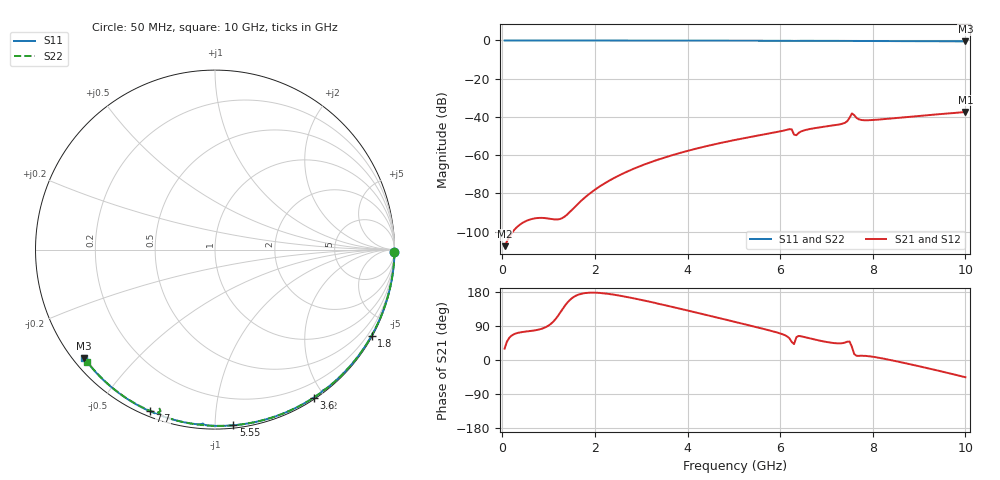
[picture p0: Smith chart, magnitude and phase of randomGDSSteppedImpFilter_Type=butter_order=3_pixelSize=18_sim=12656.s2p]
! freq	dB(S11)	phase(S11)	dB(S12)	phase(S12)
!  dB(S21)	phase(S21)	dB(S22)	phase(S22)
!S-par simulation data
#  GHz  S  DB  R 50
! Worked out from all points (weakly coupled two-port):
!   200 points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, 50 MHz to 10 GHz, reference 50 ohm
!   highest |S21| = -37.47 dB at 10 GHz (marker M1); lowest = -107.7 dB at 50 MHz (marker M2)
!   lowest |S11| = -0.5 dB at 10 GHz (marker M3), VSWR 36.83, Z = 1.53 - j18.1 ohm
!   |S11| at or under -10 dB: nowhere
!   |S22| runs from -0.6 to 0.0 dB; largest |S21 - S12| = 0
!   S11 on the Smith chart (normalised r, x): 50 MHz: open; 1.8 GHz: 0.03, -3.88; 3.6 GHz: 0.02, -1.87; 5.55 GHz: 0.02, -1.11; 7.7 GHz: 0.02, -0.67; 10 GHz: 0.03, -0.36
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0.05  -0.00 -0.8  -107.67 30.1  -107.67 30.1  -0.00 -0.8
1.75  -0.04 -28.1  -82.91 175.9  -82.91 175.9  -0.04 -27.7
1.8  -0.04 -28.9  -81.86 176.8  -81.86 176.8  -0.04 -28.5
1.9  -0.04 -30.4  -79.91 177.8  -79.91 177.8  -0.04 -30.0
2.25  -0.05 -35.9  -74.20 175.1  -74.20 175.1  -0.05 -35.4
2.65  -0.05 -42.1  -69.15 167.2  -69.15 167.2  -0.05 -41.5
3.4  -0.08 -53.3  -62.10 147.7  -62.10 147.7  -0.07 -52.7
3.6  -0.08 -56.3  -60.56 142.2  -60.56 142.2  -0.07 -55.7
5.05  -0.12 -77.1  -51.96 99.8  -51.96 99.8  -0.12 -76.2
5.55  -0.14 -84.0  -49.65 84.9  -49.65 84.9  -0.14 -83.0
6.2  -0.18 -93.0  -46.43 57.3  -46.43 57.3  -0.16 -91.7
6.25  -0.21 -93.7  -46.53 47.6  -46.53 47.6  -0.17 -92.4
6.3  -0.25 -94.0  -49.31 42.0  -49.31 42.0  -0.17 -93.0
6.35  -0.22 -94.5  -49.59 60.2  -49.59 60.2  -0.17 -93.7
6.45  -0.19 -95.8  -47.65 62.7  -47.65 62.7  -0.18 -95.0
6.7  -0.20 -99.2  -46.08 55.2  -46.08 55.2  -0.19 -98.2
7.4  -0.24 -108.2  -43.08 46.0  -43.08 46.0  -0.26 -107.7
7.45  -0.25 -108.9  -42.22 48.3  -42.22 48.3  -0.29 -108.5
7.55  -0.25 -110.1  -38.19 34.4  -38.19 34.4  -0.55 -109.2
7.7  -0.26 -112.0  -41.28 11.0  -41.28 11.0  -0.30 -110.1
8.35  -0.31 -120.1  -40.95 0.7  -40.95 0.7  -0.31 -118.7
10  -0.47 -140.3  -37.47 -45.5  -37.47 -45.5  -0.47 -138.8
